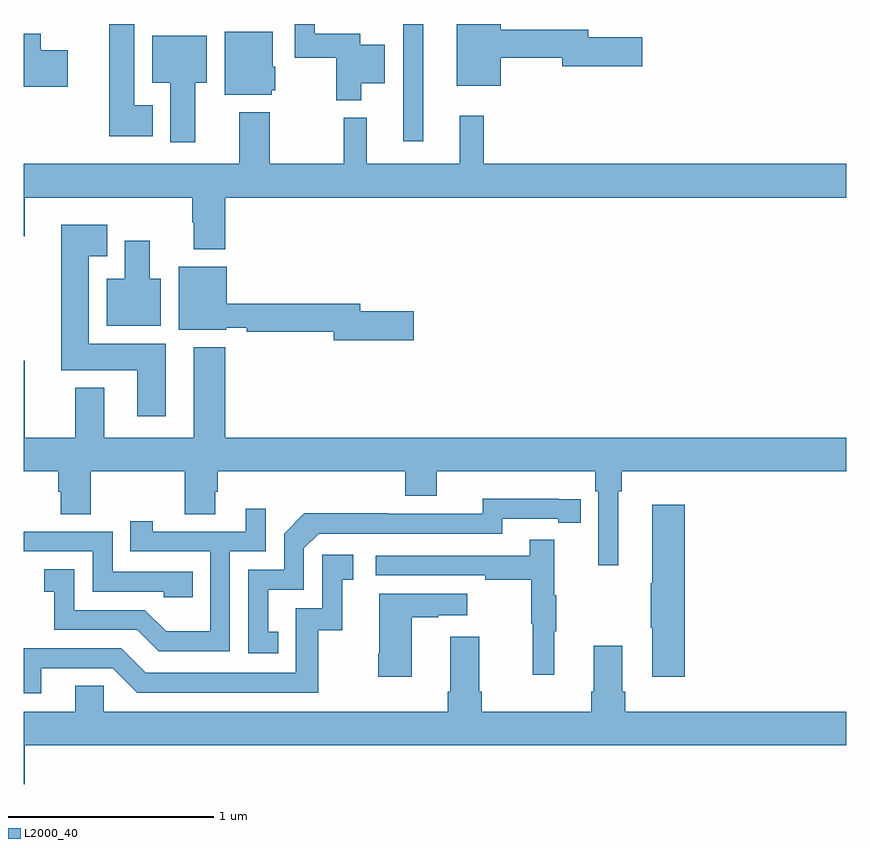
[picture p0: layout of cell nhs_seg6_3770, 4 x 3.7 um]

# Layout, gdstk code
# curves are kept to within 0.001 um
import gdstk
lib = gdstk.Library(unit=1e-6, precision=1e-09)
def R(c, l, rs):  # rectangles x0, y0, x1, y1
    for r in rs: c.add(gdstk.rectangle(r[:2], r[2:], *l))
def P(c, l, *ps):  # polygons
    for p in ps: c.add(gdstk.Polygon(p, *l))
L2000_40 = (2000, 40)

nhs_seg6_3770 = lib.new_cell('nhs_seg6_3770')
R(nhs_seg6_3770, L2000_40, [(334.845,960.93,334.942,961.5)])
P(nhs_seg6_3770, L2000_40, [(334.642,961.211),(334.756,961.211),(334.756,961.399),(334.636,961.399),(334.636,961.452),(334.414,961.452),(334.414,961.5),(334.317,961.5),(334.317,961.336),(334.52,961.336),(334.52,961.13),(334.642,961.13)],
  [(335.32,961.336),(335.618,961.336),(335.618,961.294),(336.007,961.294),(336.007,961.436),(335.746,961.436),(335.746,961.472),(335.32,961.472),(335.32,961.5),(335.105,961.5),(335.105,961.199),(335.32,961.199)],
  [(333.628,961.105),(333.538,961.105),(333.538,961.5),(333.416,961.5),(333.416,960.953),(333.628,960.953)],
  [(334.206,961.179),(334.222,961.179),(334.222,961.293),(334.21,961.293),(334.21,961.462),(333.977,961.462),(333.977,961.157),(334.206,961.157)],
  [(333.214,961.373),(333.082,961.373),(333.082,961.453),(333,961.453),(333,961.195),(333.214,961.195)],
  [(333.835,961.214),(333.889,961.214),(333.889,961.444),(333.626,961.444),(333.626,961.214),(333.713,961.214),(333.713,960.924),(333.835,960.924)],
  [(333.98,960.656),(337,960.656),(337,960.82),(335.237,960.82),(335.237,961.054),(335.12,961.054),(335.12,960.82),(334.667,960.82),(334.667,961.045),(334.557,961.045),(334.557,960.82),(334.197,960.82),(334.197,961.072),(334.049,961.072),(334.049,960.82),(333,960.82),(333,960.468),(333.004,960.468),(333.004,960.656),(333.82,960.656),(333.82,960.536),(333.827,960.536),(333.827,960.404),(333.98,960.404)],
  [(333.691,959.944),(333.316,959.944),(333.316,960.371),(333.406,960.371),(333.406,960.523),(333.182,960.523),(333.182,959.816),(333.551,959.816),(333.551,959.592),(333.691,959.592)],
  [(333.667,960.262),(333.613,960.262),(333.613,960.445),(333.491,960.445),(333.491,960.262),(333.404,960.262),(333.404,960.032),(333.667,960.032)],
  [(334.897,960.104),(334.636,960.104),(334.636,960.14),(333.988,960.14),(333.988,960.319),(333.755,960.319),(333.755,960.014),(333.984,960.014),(333.984,960.024),(334.084,960.024),(334.084,960.004),(334.508,960.004),(334.508,959.962),(334.897,959.962)],
  [(335.89,959.228),(335.909,959.228),(335.909,959.324),(337,959.324),(337,959.488),(333.98,959.488),(333.98,959.929),(333.827,959.929),(333.827,959.488),(333.391,959.488),(333.391,959.731),(333.251,959.731),(333.251,959.488),(333.004,959.488),(333.004,959.863),(333,959.863),(333,959.324),(333.167,959.324),(333.167,959.226),(333.179,959.226),(333.179,959.116),(333.327,959.116),(333.327,959.324),(333.784,959.324),(333.784,959.116),(333.931,959.116),(333.931,959.226),(333.944,959.226),(333.944,959.324),(334.856,959.324),(334.856,959.207),(335.008,959.207),(335.008,959.324),(335.78,959.324),(335.78,959.228),(335.793,959.228),(335.793,958.869),(335.89,958.869)],
  [(334.238,958.545),(334.189,958.545),(334.189,958.749),(334.362,958.749),(334.362,958.95),(334.434,959.022),(335.328,959.022),(335.328,959.094),(335.6,959.094),(335.6,959.074),(335.708,959.074),(335.708,959.19),(335.232,959.191),(335.232,959.118),(334.772,959.118),(334.772,959.12),(334.364,959.12),(334.266,959.022),(334.266,958.845),(334.092,958.845),(334.092,958.44),(334.238,958.44)],
  [(336.215,959.161),(336.056,959.161),(336.056,958.781),(336.049,958.781),(336.049,958.564),(336.056,958.564),(336.056,958.326),(336.215,958.326)],
  [(334.002,958.935),(334.176,958.935),(334.176,959.143),(334.079,959.143),(334.079,959.031),(333.628,959.031),(333.628,959.083),(333.517,959.083),(333.517,958.935),(333.906,958.935),(333.906,958.546),(333.692,958.546),(333.588,958.65),(333.246,958.65),(333.246,958.849),(333.099,958.849),(333.099,958.739),(333.148,958.739),(333.148,958.554),(333.551,958.554),(333.656,958.449),(334.002,958.449)],
  [(333.821,958.836),(333.432,958.836),(333.432,959.031),(333,959.031),(333,958.935),(333.336,958.935),(333.336,958.74),(333.681,958.74),(333.681,958.713),(333.821,958.713)],
  [(335.579,958.547),(335.59,958.547),(335.59,958.721),(335.579,958.721),(335.579,958.993),(335.461,958.993),(335.461,958.914),(334.713,958.914),(334.713,958.818),(335.245,958.818),(335.245,958.798),(335.469,958.798),(335.469,958.584),(335.476,958.584),(335.476,958.335),(335.579,958.335)],
  [(333.085,958.368),(333.432,958.368),(333.552,958.248),(334.432,958.248),(334.432,958.551),(334.55,958.551),(334.55,958.797),(334.603,958.797),(334.603,958.918),(334.452,958.918),(334.452,958.659),(334.323,958.659),(334.323,958.344),(333.594,958.344),(333.474,958.464),(333,958.464),(333,958.245),(333.085,958.245)],
  [(334.888,958.615),(335.015,958.615),(335.015,958.625),(335.158,958.625),(335.158,958.729),(334.73,958.729),(334.73,958.438),(334.723,958.438),(334.723,958.326),(334.888,958.326)],
  [(333.004,957.992),(337,957.992),(337,958.156),(335.924,958.156),(335.924,958.252),(335.911,958.252),(335.911,958.477),(335.771,958.477),(335.771,958.252),(335.759,958.252),(335.759,958.156),(335.228,958.156),(335.228,958.252),(335.215,958.252),(335.215,958.519),(335.075,958.519),(335.075,958.252),(335.063,958.252),(335.063,958.156),(333.39,958.156),(333.39,958.283),(333.251,958.283),(333.251,958.156),(333,958.156),(333,957.804),(333.004,957.804)])

lib.write_gds('nhs_seg6_3770.gds')
